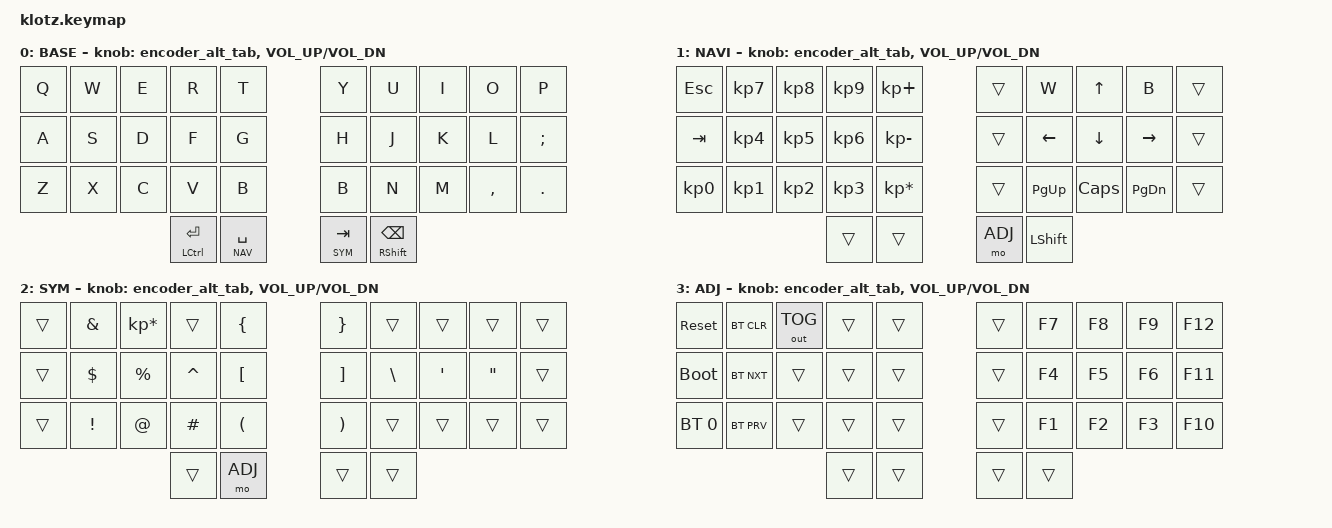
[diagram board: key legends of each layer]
#include <behaviors.dtsi>
#include <dt-bindings/zmk/keys.h>
#include <dt-bindings/zmk/bt.h>
#include <dt-bindings/zmk/outputs.h>

#define BASE 0
#define NAV  1
#define SYM  2
#define ADJ  3

/ {
    combos {
            compatible = "zmk,combos";
            combo_esc {
                timeout-ms = <50>;
                key-positions = <0 1>;
                bindings = <&kp ESC>;
            };
    };

    macros {
        tabcw: tabcw {
            compatible = "zmk,behavior-macro";
            #binding-cells = <0>;
            bindings
                = <&macro_tap &kp TAB>
                ;
        };
        tabccw: tabccw {
            compatible = "zmk,behavior-macro";
            #binding-cells = <0>;
            bindings
                = <&macro_press &kp LSHFT>
                , <&macro_tap &kp TAB>
                , <&macro_release &kp LSHFT>
                ;
        };
    };

    behaviors {
        encoder_alt_tab: encoder_alt_tab {
            compatible = "zmk,behavior-sensor-rotate";
            #sensor-binding-cells = <0>;
            bindings = <&tabcw>, <&tabccw>;
        };

        ct: custom_tap {
            compatible = "zmk,behavior-hold-tap";
            #binding-cells = <2>;
            flavor = "balanced";
            bindings = <&kp>, <&kp>;
            tapping-term-ms = <300>;
            quick-tap-ms = <175>;
            require-prior-idle-ms = <150>;
        };
    };


        keymap {
                compatible = "zmk,keymap";
// ▄▄▄▄▄▄▄▄▄▄▄▄▄▄▄▄▄▄▄▄▄▄▄▄▄▄▄▄▄▄▄▄▄▄▄▄▄▄▄▄▄▄▄▄▄▄▄▄▄▄▄▄▄▄▄▄▄▄▄▄▄▄▄▄▄▄▄▄▄▄▄▄▄▄▄▄▄▄▄▄▄▄▄▄▄▄▄▄▄▄▄▄▄▄▄▄▄▄▄▄▄▄▄▄▄▄▄▄▄▄▄▄▄▄▄▄▄▄▄▄▄▄▄▄▄


                base_layer {
// ┏━━━━━━━━━━━━━━━━━━━━━━━━━━━━━━━━━━━━━━━┓
display-name= "BASE"                              ;
// ┗━━━━━━━━━━━━━━━━━━━━━━━━━━━━━━━━━━━━━━━┛
// ┏━━━━━━━━━━━┳━━━━━━━━━━━┳━━━━━━━━━━━┳━━━━━━━━━━━┳━━━━━━━━━━━┓   ┏━━━━━━━━━━━┳━━━━━━━━━━━┳━━━━━━━━━━━┳━━━━━━━━━━━┳━━━━━━━━━━━┓
// ┃     Q     ┃     W     ┃     E     ┃     R     ┃     T     ┃   ┃     J     ┃     U     ┃     I     ┃     O     ┃     P     ┃
// ┣━━━━━━━━━━━╋━━━━━━━━━━━╋━━━━━━━━━━━╋━━━━━━━━━━━╋━━━━━━━━━━━┫   ┣━━━━━━━━━━━╋━━━━━━━━━━━╋━━━━━━━━━━━╋━━━━━━━━━━━╋━━━━━━━━━━━┫
// ┃     A     ┃     R     ┃     S     ┃     T     ┃     G     ┃   ┃     H     ┃     J     ┃     K     ┃     L     ┃     ;     ┃
// ┣━━━━━━━━━━━╋━━━━━━━━━━━╋━━━━━━━━━━━╋━━━━━━━━━━━╋━━━━━━━━━━━┫   ┣━━━━━━━━━━━╋━━━━━━━━━━━╋━━━━━━━━━━━╋━━━━━━━━━━━╋━━━━━━━━━━━┫
// ┃     Z     ┃     X     ┃     C     ┃     V     ┃     V     ┃   ┃     B     ┃     N     ┃     M     ┃     . >   ┃     / ?   ┃
// ┗━━━━━━━━━━━┻━━━━━━━━━━━┻━━━━━━━━━━━╋━━━━━━━━━━━╋━━━━━━━━━━━┫   ┣━━━━━━━━━━━╋━━━━━━━━━━━╋━━━━━━━━━━━┻━━━━━━━━━━━┻━━━━━━━━━━━┛
//                                     ┃   ENTER   ┃    SPC    ┃   ┃    TAB    ┃   BSPC    ┃
//                                     ┗━━━━━━━━━━━┻━━━━━━━━━━━┛   ┗━━━━━━━━━━━┻━━━━━━━━━━━┛
 bindings = <
// ╷           ╷           ╷           ╷           ╷           ╷   ╷           ╷           ╷           ╷           ╷           ╷

    &kp Q       &kp W       &kp E       &kp R       &kp T           &kp Y       &kp U       &kp I       &kp O       &kp P
    &kp A       &kp S       &kp D       &kp F       &kp G           &kp H       &kp J       &kp K       &kp L       &kp SEMI
    &kp Z       &kp X       &kp C       &kp V       &kp B           &kp B       &kp N       &kp M       &kp COMMA   &kp DOT
                                       &ct LCTRL RET &lt NAV SPACE  &lt SYM TAB &ct RSHFT BSPC    
                        >;
            sensor-bindings = <&encoder_alt_tab &inc_dec_kp C_VOL_UP C_VOL_DN>;
                };

// ▄▄▄▄▄▄▄▄▄▄▄▄▄▄▄▄▄▄▄▄▄▄▄▄▄▄▄▄▄▄▄▄▄▄▄▄▄▄▄▄▄▄▄▄▄▄▄▄▄▄▄▄▄▄▄▄▄▄▄▄▄▄▄▄▄▄▄▄▄▄▄▄▄▄▄▄▄▄▄▄▄▄▄▄▄▄▄▄▄▄▄▄▄▄▄▄▄▄▄▄▄▄▄▄▄▄▄▄▄▄▄▄▄▄▄▄▄▄▄▄▄▄▄▄▄


                nav_layer {
// ┏━━━━━━━━━━━━━━━━━━━━━━━━━━━━━━━━━━━━━━━┓
display-name= "NAVI"                              ;
// ┗━━━━━━━━━━━━━━━━━━━━━━━━━━━━━━━━━━━━━━━┛
// ┏━━━━━━━━━━━┳━━━━━━━━━━━┳━━━━━━━━━━━┳━━━━━━━━━━━┳━━━━━━━━━━━┓   ┏━━━━━━━━━━━┳━━━━━━━━━━━┳━━━━━━━━━━━┳━━━━━━━━━━━┳━━━━━━━━━━━┓
// ┃    ESC    ┃     7     ┃     8     ┃     9     ┃     + =   ┃   ┃           ┃    W      ┃     UP    ┃     B     ┃           ┃
// ┣━━━━━━━━━━━╋━━━━━━━━━━━╋━━━━━━━━━━━╋━━━━━━━━━━━╋━━━━━━━━━━━┫   ┣━━━━━━━━━━━╋━━━━━━━━━━━╋━━━━━━━━━━━╋━━━━━━━━━━━╋━━━━━━━━━━━┫
// ┃    TAB    ┃     4     ┃     5     ┃     6     ┃     - _   ┃   ┃           ┃   LEFT    ┃    DOWN   ┃   RIGHT   ┃           ┃
// ┣━━━━━━━━━━━╋━━━━━━━━━━━╋━━━━━━━━━━━╋━━━━━━━━━━━╋━━━━━━━━━━━┫   ┣━━━━━━━━━━━╋━━━━━━━━━━━╋━━━━━━━━━━━╋━━━━━━━━━━━╋━━━━━━━━━━━┫
// ┃     0     ┃     1     ┃     2     ┃     3     ┃     *     ┃   ┃           ┃  P UP     ┃   C LOCK  ┃  P DOWN   ┃           ┃
// ┗━━━━━━━━━━━┻━━━━━━━━━━━┻━━━━━━━━━━━╋━━━━━━━━━━━╋━━━━━━━━━━━┫   ┣━━━━━━━━━━━╋━━━━━━━━━━━╋━━━━━━━━━━━┻━━━━━━━━━━━┻━━━━━━━━━━━┛
//                                     ┃           ┃           ┃   ┃  ADJUST   ┃   SHFT    ┃  
//                                     ┗━━━━━━━━━━━┻━━━━━━━━━━━┛   ┗━━━━━━━━━━━┻━━━━━━━━━━━┛
 bindings = <
// ╷           ╷           ╷           ╷           ╷           ╷   ╷           ╷           ╷           ╷           ╷           ╷

    &kp ESC     &kp KP_N7   &kp KP_N8   &kp KP_N9   &kp KP_PLUS     &trans      &kp W       &kp UP      &kp B       &trans
    &kp TAB     &kp KP_N4   &kp KP_N5   &kp KP_N6   &kp KP_MINUS    &trans      &kp LEFT &kp DOWN &kp RIGHT   &trans
    &kp KP_N0   &kp KP_N1   &kp KP_N2   &kp KP_N3   &kp KP_MULTIPLY &trans      &kp PG_UP   &kp CAPS    &kp PG_DN   &trans
                                        &trans      &trans          &mo ADJ     &kp LSHFT     
                        >;
            sensor-bindings = <&encoder_alt_tab &inc_dec_kp C_VOL_UP C_VOL_DN>;
                };

// ▄▄▄▄▄▄▄▄▄▄▄▄▄▄▄▄▄▄▄▄▄▄▄▄▄▄▄▄▄▄▄▄▄▄▄▄▄▄▄▄▄▄▄▄▄▄▄▄▄▄▄▄▄▄▄▄▄▄▄▄▄▄▄▄▄▄▄▄▄▄▄▄▄▄▄▄▄▄▄▄▄▄▄▄▄▄▄▄▄▄▄▄▄▄▄▄▄▄▄▄▄▄▄▄▄▄▄▄▄▄▄▄▄▄▄▄▄▄▄▄▄▄▄▄▄


                sim_layer {
// ┏━━━━━━━━━━━━━━━━━━━━━━━━━━━━━━━━━━━━━━━┓
display-name= "SYM"                               ;
// ┗━━━━━━━━━━━━━━━━━━━━━━━━━━━━━━━━━━━━━━━┛
// ┏━━━━━━━━━━━┳━━━━━━━━━━━┳━━━━━━━━━━━┳━━━━━━━━━━━┳━━━━━━━━━━━┓   ┏━━━━━━━━━━━┳━━━━━━━━━━━┳━━━━━━━━━━━┳━━━━━━━━━━━┳━━━━━━━━━━━┓
// ┃           ┃     &     ┃     *     ┃           ┃     {     ┃   ┃     }     ┃           ┃           ┃           ┃           ┃
// ┣━━━━━━━━━━━╋━━━━━━━━━━━╋━━━━━━━━━━━╋━━━━━━━━━━━╋━━━━━━━━━━━┫   ┣━━━━━━━━━━━╋━━━━━━━━━━━╋━━━━━━━━━━━╋━━━━━━━━━━━╋━━━━━━━━━━━┫
// ┃           ┃     $     ┃     %     ┃     ^     ┃     [     ┃   ┃     ]     ┃    \ |    ┃     '     ┃    "      ┃           ┃
// ┣━━━━━━━━━━━╋━━━━━━━━━━━╋━━━━━━━━━━━╋━━━━━━━━━━━╋━━━━━━━━━━━┫   ┣━━━━━━━━━━━╋━━━━━━━━━━━╋━━━━━━━━━━━╋━━━━━━━━━━━╋━━━━━━━━━━━┫
// ┃           ┃     !     ┃     @     ┃     #     ┃     (     ┃   ┃     )     ┃           ┃           ┃           ┃           ┃
// ┗━━━━━━━━━━━┻━━━━━━━━━━━┻━━━━━━━━━━━╋━━━━━━━━━━━╋━━━━━━━━━━━┫   ┣━━━━━━━━━━━╋━━━━━━━━━━━╋━━━━━━━━━━━┻━━━━━━━━━━━┻━━━━━━━━━━━┛
//                                     ┃           ┃  ADJUST   ┃   ┃           ┃           ┃   
//                                     ┗━━━━━━━━━━━┻━━━━━━━━━━━┛   ┗━━━━━━━━━━━┻━━━━━━━━━━━┛
 bindings = <
// ╷           ╷           ╷           ╷           ╷           ╷   ╷           ╷           ╷           ╷           ╷           ╷

    &trans      &kp AMPS    &kp KP_MULTIPLY &trans    &kp LBRC      &kp RBRC    &trans      &trans      &trans      &trans        
    &trans      &kp DLLR    &kp PRCNT   &kp CARET   &kp LBKT        &kp RBKT    &kp BSLH    &kp SQT     &kp DQT     &trans
    &trans      &kp EXCL    &kp AT      &kp HASH    &kp LPAR        &kp RPAR    &trans      &trans      &trans      &trans
                                        &trans      &mo ADJ         &trans      &trans      
                        >;
            sensor-bindings = <&encoder_alt_tab &inc_dec_kp C_VOL_UP C_VOL_DN>;
                };

// ▄▄▄▄▄▄▄▄▄▄▄▄▄▄▄▄▄▄▄▄▄▄▄▄▄▄▄▄▄▄▄▄▄▄▄▄▄▄▄▄▄▄▄▄▄▄▄▄▄▄▄▄▄▄▄▄▄▄▄▄▄▄▄▄▄▄▄▄▄▄▄▄▄▄▄▄▄▄▄▄▄▄▄▄▄▄▄▄▄▄▄▄▄▄▄▄▄▄▄▄▄▄▄▄▄▄▄▄▄▄▄▄▄▄▄▄▄▄▄▄▄▄▄▄▄


                adjust_layer {
// ┏━━━━━━━━━━━━━━━━━━━━━━━━━━━━━━━━━━━━━━━┓
display-name= "ADJ"                               ;
// ┗━━━━━━━━━━━━━━━━━━━━━━━━━━━━━━━━━━━━━━━┛
// ┏━━━━━━━━━━━┳━━━━━━━━━━━┳━━━━━━━━━━━┳━━━━━━━━━━━┳━━━━━━━━━━━┓   ┏━━━━━━━━━━━┳━━━━━━━━━━━┳━━━━━━━━━━━┳━━━━━━━━━━━┳━━━━━━━━━━━┓
// ┃   RESET   ┃ BT CLEAR  ┃  OUT TOG  ┃           ┃           ┃   ┃           ┃    F7     ┃    F8     ┃    F9     ┃    F12    ┃
// ┣━━━━━━━━━━━╋━━━━━━━━━━━╋━━━━━━━━━━━╋━━━━━━━━━━━╋━━━━━━━━━━━┫   ┣━━━━━━━━━━━╋━━━━━━━━━━━╋━━━━━━━━━━━╋━━━━━━━━━━━╋━━━━━━━━━━━┫
// ┃ BOOTLOAD  ┃ BT NEXT   ┃           ┃           ┃           ┃   ┃           ┃    F4     ┃    F5     ┃    F6     ┃    F11    ┃
// ┣━━━━━━━━━━━╋━━━━━━━━━━━╋━━━━━━━━━━━╋━━━━━━━━━━━╋━━━━━━━━━━━┫   ┣━━━━━━━━━━━╋━━━━━━━━━━━╋━━━━━━━━━━━╋━━━━━━━━━━━╋━━━━━━━━━━━┫
// ┃  BT 0     ┃ BT PREV   ┃           ┃           ┃           ┃   ┃           ┃    F1     ┃    F2     ┃    F3     ┃    F10    ┃
// ┗━━━━━━━━━━━┻━━━━━━━━━━━┻━━━━━━━━━━━╋━━━━━━━━━━━╋━━━━━━━━━━━┫   ┣━━━━━━━━━━━╋━━━━━━━━━━━╋━━━━━━━━━━━┻━━━━━━━━━━━┻━━━━━━━━━━━┛
//                                     ┃           ┃           ┃   ┃           ┃           ┃
//                                     ┗━━━━━━━━━━━┻━━━━━━━━━━━┛   ┗━━━━━━━━━━━┻━━━━━━━━━━━┛
 bindings = <
// ╷           ╷           ╷           ╷           ╷           ╷   ╷           ╷           ╷           ╷           ╷           ╷

    &sys_reset  &bt BT_CLR &out OUT_TOG &trans      &trans          &trans      &kp F7      &kp F8      &kp F9      &kp F12
    &bootloader &bt BT_NXT  &trans      &trans      &trans          &trans      &kp F4      &kp F5      &kp F6      &kp F11  
   &bt BT_SEL 0 &bt BT_PRV  &trans      &trans      &trans          &trans      &kp F1      &kp F2      &kp F3      &kp F10     
                                        &trans      &trans          &trans      &trans
                        >;
            sensor-bindings = <&encoder_alt_tab &inc_dec_kp C_VOL_UP C_VOL_DN>;
                };
        };
};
